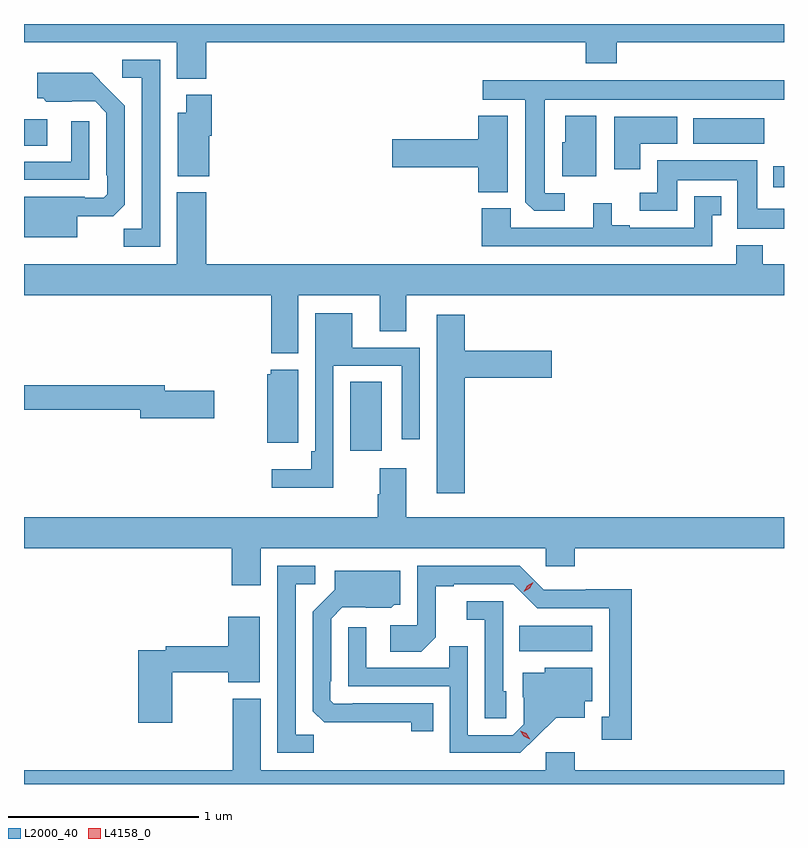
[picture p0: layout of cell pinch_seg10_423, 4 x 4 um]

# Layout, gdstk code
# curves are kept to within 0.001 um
import gdstk
lib = gdstk.Library(unit=1e-6, precision=1e-09)
def R(c, l, rs):  # rectangles x0, y0, x1, y1
    for r in rs: c.add(gdstk.rectangle(r[:2], r[2:], *l))
def P(c, l, *ps):  # polygons
    for p in ps: c.add(gdstk.Polygon(p, *l))
L2000_40 = (2000, 40)
L4158_0 = (4158, 0)

pinch_seg10_423 = lib.new_cell('pinch_seg10_423')
R(pinch_seg10_423, L2000_40, [(352.486,1301.108,352.87,1301.242), (351.596,1302.162,351.763,1302.524), (353.822,1303.55,353.879,1303.66), (349.879,1303.768,350.002,1303.908), (353.402,1303.778,353.776,1303.912)])
P(pinch_seg10_423, L2000_40, [(350.837,1304.312),(352.835,1304.312),(352.835,1304.201),(353,1304.201),(353,1304.312),(353.879,1304.312),(353.879,1304.408),(349.879,1304.408),(349.879,1304.312),(350.684,1304.312),(350.684,1304.12),(350.837,1304.12)],
  [(350.595,1304.22),(350.397,1304.22),(350.397,1304.124),(350.499,1304.124),(350.499,1303.331),(350.404,1303.331),(350.404,1303.236),(350.595,1303.236)],
  [(350.158,1303.397),(350.35,1303.397),(350.409,1303.456),(350.409,1303.978),(350.237,1304.152),(349.949,1304.152),(349.949,1304.016),(349.98,1304.016),(349.996,1304),(350.253,1304.001),(350.313,1303.941),(350.313,1303.612),(350.316,1303.612),(350.316,1303.512),(350.298,1303.494),(350.198,1303.494),(350.198,1303.498),(349.879,1303.498),(349.879,1303.286),(350.158,1303.286)],
  [(352.726,1303.518),(352.621,1303.518),(352.621,1304.009),(353.879,1304.009),(353.879,1304.113),(352.293,1304.113),(352.293,1304.009),(352.517,1304.009),(352.518,1303.471),(352.564,1303.425),(352.726,1303.425)],
  [(350.854,1303.821),(350.867,1303.821),(350.867,1304.035),(350.732,1304.035),(350.732,1303.942),(350.687,1303.942),(350.687,1303.607),(350.854,1303.607)],
  [(352.426,1303.924),(352.271,1303.924),(352.271,1303.802),(351.816,1303.802),(351.816,1303.655),(352.271,1303.655),(352.271,1303.523),(352.426,1303.523)],
  [(352.891,1303.924),(352.727,1303.924),(352.727,1303.785),(352.712,1303.785),(352.712,1303.608),(352.891,1303.608)],
  [(353.122,1303.778),(353.317,1303.778),(353.317,1303.921),(352.985,1303.921),(352.985,1303.644),(353.122,1303.644)],
  [(350.223,1303.897),(350.127,1303.897),(350.127,1303.683),(349.879,1303.683),(349.879,1303.587),(350.223,1303.587)],
  [(353.879,1303.435),(353.737,1303.435),(353.737,1303.69),(353.213,1303.69),(353.213,1303.521),(353.121,1303.521),(353.121,1303.425),(353.317,1303.425),(353.317,1303.586),(353.633,1303.586),(353.633,1303.331),(353.879,1303.331)],
  [(351.322,1302.98),(351.752,1302.98),(351.752,1302.79),(351.892,1302.79),(351.892,1302.98),(353.879,1302.98),(353.879,1303.144),(353.767,1303.144),(353.767,1303.243),(353.627,1303.243),(353.627,1303.144),(350.837,1303.144),(350.837,1303.522),(350.684,1303.522),(350.684,1303.144),(349.879,1303.144),(349.879,1302.98),(351.179,1302.98),(351.179,1302.674),(351.322,1302.674)],
  [(353.502,1303.401),(353.548,1303.401),(353.548,1303.501),(353.406,1303.501),(353.406,1303.335),(353.068,1303.335),(353.068,1303.348),(352.972,1303.348),(352.972,1303.465),(352.874,1303.465),(352.874,1303.335),(352.44,1303.335),(352.44,1303.438),(352.289,1303.438),(352.289,1303.239),(353.502,1303.239)],
  [(351.507,1302.609),(351.867,1302.609),(351.867,1302.222),(351.963,1302.222),(351.963,1302.705),(351.607,1302.705),(351.607,1302.886),(351.411,1302.886),(351.411,1302.16),(351.391,1302.16),(351.391,1302.064),(351.183,1302.064),(351.183,1301.966),(351.507,1301.966)],
  [(352.199,1302.545),(352.657,1302.545),(352.657,1302.687),(352.199,1302.687),(352.199,1302.877),(352.052,1302.877),(352.052,1301.937),(352.199,1301.937)],
  [(351.322,1302.589),(351.177,1302.589),(351.177,1302.564),(351.158,1302.564),(351.158,1302.203),(351.322,1302.203)],
  [(350.881,1302.479),(350.62,1302.479),(350.62,1302.508),(349.879,1302.508),(349.879,1302.379),(350.492,1302.379),(350.492,1302.332),(350.881,1302.332)],
  [(351.892,1302.07),(351.752,1302.07),(351.752,1301.933),(351.74,1301.933),(351.74,1301.812),(349.879,1301.812),(349.879,1301.648),(350.972,1301.648),(350.972,1301.454),(351.124,1301.454),(351.124,1301.648),(352.626,1301.648),(352.626,1301.555),(352.778,1301.555),(352.778,1301.648),(353.879,1301.648),(353.879,1301.812),(351.892,1301.812)],
  [(353.077,1301.432),(352.836,1301.432),(352.836,1301.43),(352.614,1301.43),(352.488,1301.556),(351.948,1301.556),(351.948,1301.244),(351.807,1301.244),(351.807,1301.104),(351.971,1301.104),(352.047,1301.18),(352.047,1301.448),(352.141,1301.448),(352.141,1301.46),(352.455,1301.46),(352.581,1301.334),(352.958,1301.334),(352.958,1300.761),(352.919,1300.761),(352.919,1300.641),(353.077,1300.641)],
  [(351.405,1300.667),(351.309,1300.667),(351.309,1301.46),(351.412,1301.46),(351.412,1301.556),(351.213,1301.556),(351.213,1300.572),(351.405,1300.572)],
  [(352.034,1300.833),(351.61,1300.833),(351.61,1300.83),(351.51,1300.83),(351.492,1300.848),(351.492,1300.948),(351.495,1300.948),(351.495,1301.277),(351.555,1301.337),(351.812,1301.336),(351.828,1301.352),(351.859,1301.352),(351.859,1301.53),(351.515,1301.53),(351.515,1301.43),(351.399,1301.314),(351.399,1300.792),(351.458,1300.733),(351.916,1300.732),(351.916,1300.686),(352.034,1300.686)],
  [(352.416,1300.896),(352.401,1300.896),(352.401,1301.37),(352.209,1301.37),(352.209,1301.273),(352.305,1301.273),(352.305,1300.753),(352.416,1300.753)],
  [(350.658,1300.996),(350.954,1300.996),(350.954,1300.943),(351.121,1300.943),(351.121,1301.287),(350.954,1301.287),(350.954,1301.132),(350.626,1301.132),(350.626,1301.112),(350.48,1301.112),(350.48,1300.731),(350.658,1300.731)],
  [(352.576,1300.655),(352.679,1300.757),(352.831,1300.757),(352.831,1300.844),(352.87,1300.844),(352.87,1301.02),(352.62,1301.02),(352.62,1300.993),(352.505,1300.993),(352.505,1300.864),(352.509,1300.864),(352.509,1300.722),(352.452,1300.665),(352.215,1300.665),(352.215,1301.132),(352.117,1301.132),(352.117,1301.019),(351.681,1301.019),(351.681,1301.233),(351.585,1301.233),(351.585,1300.923),(352.119,1300.923),(352.119,1300.572),(352.492,1300.572)],
  [(353.879,1300.48),(352.778,1300.48),(352.778,1300.576),(352.626,1300.576),(352.626,1300.48),(351.124,1300.48),(351.124,1300.858),(350.977,1300.858),(350.977,1300.48),(349.879,1300.48),(349.879,1300.408),(353.879,1300.408)])
P(pinch_seg10_423, L4158_0, [(352.509,1301.419),(352.509,1301.419),(352.527,1301.452),(352.559,1301.471),(352.559,1301.471),(352.559,1301.471),(352.541,1301.438),(352.509,1301.419)],
  [(352.54,1300.644),(352.51,1300.659),(352.492,1300.688),(352.492,1300.688),(352.492,1300.688),(352.523,1300.674),(352.541,1300.645),(352.541,1300.644)])

lib.write_gds('pinch_seg10_423.gds')
